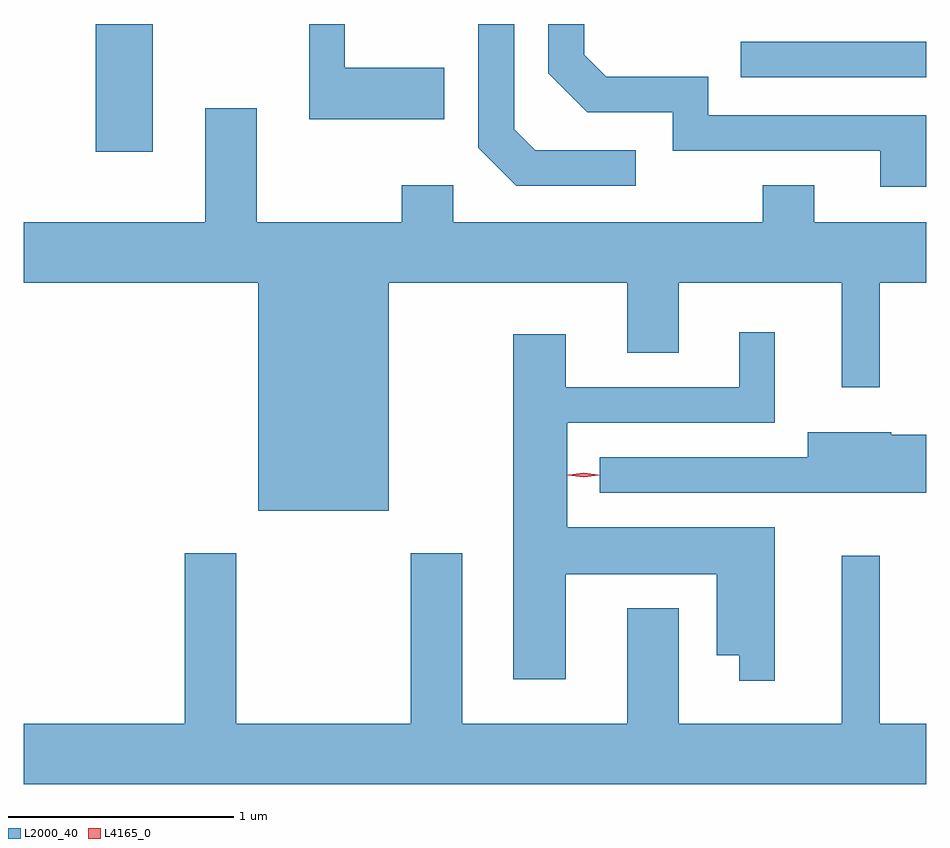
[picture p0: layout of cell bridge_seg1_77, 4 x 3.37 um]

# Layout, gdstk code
import gdstk
lib = gdstk.Library(unit=1e-6, precision=1e-09)
def R(c, l, rs):  # rectangles x0, y0, x1, y1
    for r in rs: c.add(gdstk.rectangle(r[:2], r[2:], *l))
def P(c, l, *ps):  # polygons
    for p in ps: c.add(gdstk.Polygon(p, *l))
L2000_40 = (2000, 40)
L4165_0 = (4165, 0)

bridge_seg1_77 = lib.new_cell('bridge_seg1_77')
R(bridge_seg1_77, L2000_40, [(1206.156,953.436,1206.409,954.003), (1209.013,953.766,1209.836,953.924)])
P(bridge_seg1_77, L2000_40, [(1207.699,953.809),(1207.259,953.809),(1207.259,954.003),(1207.101,954.003),(1207.101,953.581),(1207.699,953.581)],
  [(1208.548,953.444),(1208.102,953.444),(1208.009,953.537),(1208.009,954.003),(1207.851,954.003),(1207.851,953.454),(1208.019,953.286),(1208.548,953.286)],
  [(1209.836,953.599),(1208.869,953.599),(1208.869,953.769),(1208.417,953.769),(1208.319,953.867),(1208.319,954.003),(1208.161,954.003),(1208.161,953.784),(1208.334,953.611),(1208.711,953.611),(1208.711,953.441),(1209.631,953.441),(1209.631,953.281),(1209.836,953.281)],
  [(1207.454,952.856),(1208.511,952.856),(1208.511,952.546),(1208.739,952.546),(1208.739,952.856),(1209.461,952.856),(1209.461,952.393),(1209.629,952.393),(1209.629,952.856),(1209.836,952.856),(1209.836,953.124),(1209.339,953.124),(1209.339,953.289),(1209.111,953.289),(1209.111,953.124),(1207.739,953.124),(1207.739,953.289),(1207.511,953.289),(1207.511,953.124),(1206.869,953.124),(1206.869,953.629),(1206.641,953.629),(1206.641,953.124),(1205.836,953.124),(1205.836,952.856),(1206.876,952.856),(1206.876,951.846),(1207.454,951.846)],
  [(1209.164,951.774),(1208.244,951.774),(1208.244,952.236),(1209.164,952.236),(1209.164,952.638),(1209.006,952.638),(1209.006,952.394),(1208.239,952.394),(1208.239,952.629),(1208.006,952.629),(1208.006,951.101),(1208.239,951.101),(1208.239,951.566),(1208.906,951.566),(1208.906,951.206),(1209.006,951.206),(1209.006,951.093),(1209.164,951.093)],
  [(1209.836,952.184),(1209.68,952.184),(1209.68,952.194),(1209.311,952.194),(1209.311,952.084),(1208.388,952.084),(1208.388,951.926),(1209.836,951.926)],
  [(1209.836,950.904),(1209.629,950.904),(1209.629,951.648),(1209.461,951.648),(1209.461,950.904),(1208.739,950.904),(1208.739,951.414),(1208.511,951.414),(1208.511,950.904),(1207.779,950.904),(1207.779,951.659),(1207.551,951.659),(1207.551,950.904),(1206.779,950.904),(1206.779,951.659),(1206.551,951.659),(1206.551,950.904),(1205.836,950.904),(1205.836,950.636),(1209.836,950.636)])
P(bridge_seg1_77, L4165_0, [(1208.317,951.994),(1208.248,952.003),(1208.247,952.004),(1208.248,952.004),(1208.317,952.014),(1208.386,952.004),(1208.386,952.004),(1208.386,952.003)],
  [(1208.317,951.995),(1208.251,952.004),(1208.25,952.005),(1208.251,952.005),(1208.317,952.015),(1208.382,952.005),(1208.383,952.005),(1208.382,952.004)])

lib.write_gds('bridge_seg1_77.gds')
